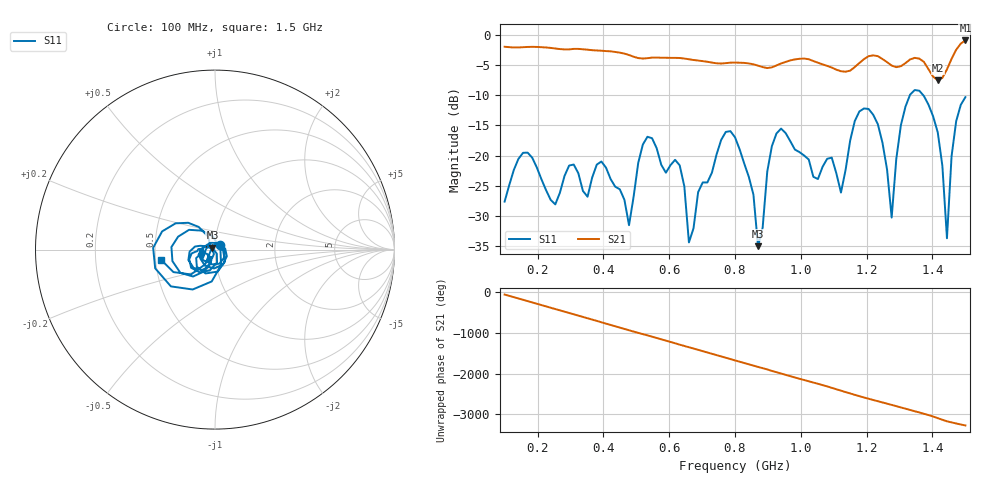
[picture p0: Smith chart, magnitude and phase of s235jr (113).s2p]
! NanoVNA-App
! Date: 2025-09-26 09:45:40
! Start: 100MHz Stop: 1,5GHz Points: 101
! S-Parameter data: F S11 S21 S12 S22
# Hz S RI R 50
!  Frequency  S11_Real  S11_Imag  S21_Real  S21_Imag  S12_Real  S12_Imag  S22_Real  S22_Imag
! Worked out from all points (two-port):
!   101 points, 100 MHz to 1.5 GHz, reference 50 ohm
!   highest |S21| = -0.91 dB at 1.5 GHz (marker M1); lowest = -7.5 dB at 1.416 GHz (marker M2)
!   |S21| within 3 dB of the highest: start of sweep to 645.7 MHz; 1.195 GHz to 1.246 GHz (51.13 MHz wide, 4.19 % of centre) (the widest 2 of 5)
!   lowest |S11| = -35.0 dB at 870 MHz (marker M3), VSWR 1.04, Z = 48.6 + j0.978 ohm
!   |S11| at or under -10 dB: start of sweep to 1.331 GHz; 1.372 GHz to end of sweep
!   S12 and S22 are empty: the file has one direction only
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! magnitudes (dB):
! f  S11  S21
! 100 MHz  -27.6  -2.0
! 156 MHz  -19.6  -2.0
! 338 MHz  -25.9  -2.4
! 394 MHz  -21.0  -2.6
! 478 MHz  -31.6  -3.3
! 520 MHz  -18.2  -3.9
! 576 MHz  -21.5  -3.8
! 632 MHz  -21.6  -3.8
! 660 MHz  -34.4  -4.0
! 800 MHz  -17.0  -4.6
! 870 MHz  -35.0  -5.1
! 926 MHz  -16.3  -5.1
! 1.038 GHz  -23.5  -4.3
! 1.122 GHz  -26.1  -6.0
! 1.206 GHz  -12.3  -3.5
! 1.248 GHz  -17.9  -4.0
! 1.276 GHz  -30.3  -5.1
! 1.332 GHz  -9.9  -4.1
! 1.416 GHz  -16.2  -7.5
! 1.444 GHz  -33.7  -5.7
! 1.458 GHz  -20.1  -4.0
! 1.5 GHz  -10.3  -0.9
